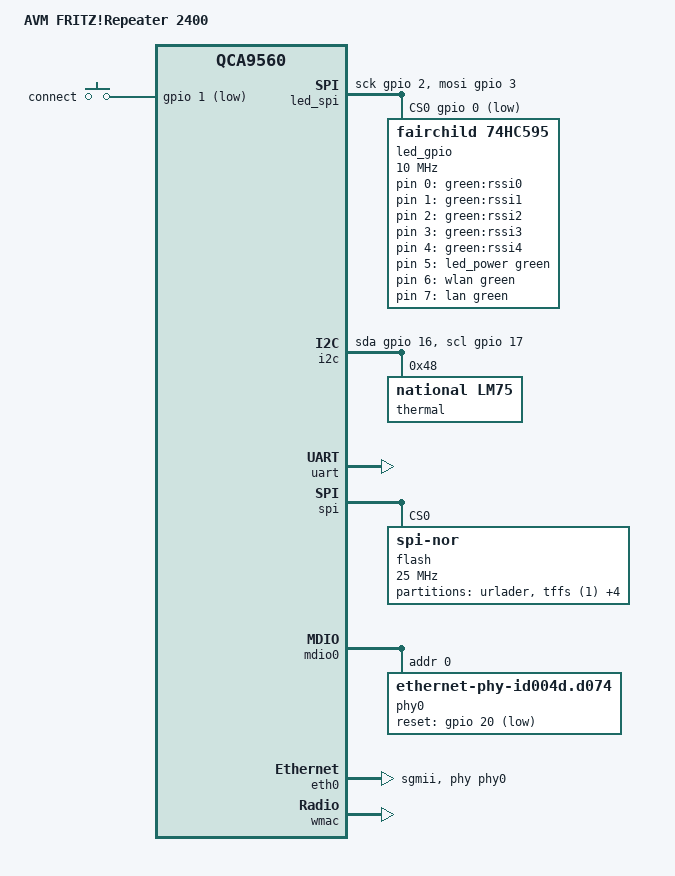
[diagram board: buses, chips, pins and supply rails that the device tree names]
// SPDX-License-Identifier: GPL-2.0-or-later OR MIT

#include "qca956x.dtsi"

#include <dt-bindings/gpio/gpio.h>
#include <dt-bindings/input/input.h>
#include <dt-bindings/leds/common.h>

/ {
	model = "AVM FRITZ!Repeater 2400";
	compatible = "avm,fritz2400", "qca,qcn5500", "qca,qca9560";

	aliases {
		led-boot = &led_power;
		led-failsafe = &led_power;
		led-running = &led_power;
		led-upgrade = &led_power;
		label-mac-device = &eth0;
	};

	keys {
		compatible = "gpio-keys";

		connect {
			label = "connect";
			linux,code = <KEY_WPS_BUTTON>;
			gpios = <&gpio 1 GPIO_ACTIVE_LOW>;
			debounce-interval = <60>;
		};
	};

	/*
	 * 74HC595 shift register driving all front LEDs.
	 * Pinout taken from the OEM device tree (avm-gpio node):
	 *   gpio_avm_shift_clk  = 2  -> SRCLK
	 *   gpio_avm_shift_din  = 3  -> SER
	 *   gpio_avm_shift_rclk = 0  -> RCLK (latch, used as SPI chip select)
	 *   shift_register_size = 8
	 */
	led_spi {
		compatible = "spi-gpio";
		#address-cells = <1>;
		#size-cells = <0>;

		sck-gpios = <&gpio 2 GPIO_ACTIVE_HIGH>;
		mosi-gpios = <&gpio 3 GPIO_ACTIVE_HIGH>;
		cs-gpios = <&gpio 0 GPIO_ACTIVE_LOW>;
		num-chipselects = <1>;

		led_gpio: led_gpio@0 {
			compatible = "fairchild,74hc595";
			reg = <0>;
			gpio-controller;
			#gpio-cells = <2>;
			registers-number = <1>;
			spi-max-frequency = <10000000>;
		};
	};

	/*
	 * Shift register bit map, from the OEM avm-gpio node
	 * (AVM numbers shift register pins as 100 + bit):
	 *   0x64..0x68 = led_fsi0..4 -> RSSI bar
	 *   0x69       = power
	 *   0x6a       = wlan
	 *   0x6b       = lan
	 */
	leds {
		compatible = "gpio-leds";

		rssi0 {
			label = "green:rssi0";
			gpios = <&led_gpio 0 GPIO_ACTIVE_HIGH>;
		};

		rssi1 {
			label = "green:rssi1";
			gpios = <&led_gpio 1 GPIO_ACTIVE_HIGH>;
		};

		rssi2 {
			label = "green:rssi2";
			gpios = <&led_gpio 2 GPIO_ACTIVE_HIGH>;
		};

		rssi3 {
			label = "green:rssi3";
			gpios = <&led_gpio 3 GPIO_ACTIVE_HIGH>;
		};

		rssi4 {
			label = "green:rssi4";
			gpios = <&led_gpio 4 GPIO_ACTIVE_HIGH>;
		};

		led_power: power {
			function = LED_FUNCTION_POWER;
			color = <LED_COLOR_ID_GREEN>;
			gpios = <&led_gpio 5 GPIO_ACTIVE_HIGH>;
			default-state = "on";
		};

		wlan {
			function = LED_FUNCTION_WLAN;
			color = <LED_COLOR_ID_GREEN>;
			gpios = <&led_gpio 6 GPIO_ACTIVE_HIGH>;
			linux,default-trigger = "phy0tpt";
		};

		lan {
			function = LED_FUNCTION_LAN;
			color = <LED_COLOR_ID_GREEN>;
			gpios = <&led_gpio 7 GPIO_ACTIVE_HIGH>;
		};
	};

	/* LM75 temperature sensor, bit-banged I2C (OEM: SDA = 16, SCL = 17) */
	i2c {
		compatible = "i2c-gpio";
		sda-gpios = <&gpio 16 (GPIO_ACTIVE_HIGH | GPIO_OPEN_DRAIN)>;
		scl-gpios = <&gpio 17 (GPIO_ACTIVE_HIGH | GPIO_OPEN_DRAIN)>;
		i2c-gpio,delay-us = <5>;

		#address-cells = <1>;
		#size-cells = <0>;

		thermal@48 {
			compatible = "national,lm75";
			reg = <0x48>;
			#thermal-sensor-cells = <0>;
		};
	};
};

&uart {
	status = "okay";
};

&spi {
	status = "okay";

	flash@0 {
		compatible = "jedec,spi-nor";
		reg = <0>;
		spi-max-frequency = <25000000>;

		/*
		 * 64 MiB SPI-NOR: Winbond W25Q512JV.  JEDEC 0xEF4020 per EVA TFFS
		 * entry 0x01cb "spinor=0xEF4020,cpu=0x2170" (0xEF is Winbond; the
		 * MX25L51245G named here before would be 0xC2...).  cpu=0x2170
		 * matches the live read of 0x18060090 = 0x00002170.
		 *
		 * The boundaries are not from the OEM boot log but from EVA's own
		 * environment variables mtd0..mtd6 (TFFS ids 0x01b0..0x01b6,
		 * identical in both TFFS copies):
		 *
		 *   0x00000000-0x00020000 urlader         EVA mtd2  bootloader
		 *   0x00020000-0x00090000 tffs (1)        EVA mtd3  config + MACs
		 *   0x00090000-0x02000000 reserved-kernel EVA mtd1  FRITZ!OS slot
		 *   0x02000000-0x02020000 caldata         EVA mtd6  128 KiB, ERASED
		 *   0x02020000-0x02090000 tffs (2)        EVA mtd4  config backup
		 *   0x02090000-0x04000000 firmware        EVA mtd5  FRITZ!OS slot
		 *
		 * Which of the two 32 MiB slots EVA boots is NOT derivable here:
		 * both carry the same valid EVA image (magic 0xfeed1281, size
		 * 0x24cf37), and EVA's slot selector linux_fs_start (TFFS name
		 * table id 0x0198) has no entry in either TFFS copy.
		 *
		 * "caldata" is fully erased on this unit (131072 of 131072 bytes
		 * are 0xFF) - the calibration data lives zlib-compressed in
		 * "urlader" instead, entry 0x0207 for the 2.4 GHz WMAC and 0x0208
		 * for the QCA9984.  Do not add a caldata fallback here.
		 *
		 * OpenWrt only ever touches the last region.  The whole second
		 * FRITZ!OS slot and both TFFS copies stay intact, so EVA can
		 * always restore the stock firmware.
		 */
		partitions {
			compatible = "fixed-partitions";
			#address-cells = <1>;
			#size-cells = <1>;

			partition@0 {
				label = "urlader";
				reg = <0x000000 0x020000>;
				read-only;
			};

			partition@20000 {
				label = "tffs (1)";
				reg = <0x020000 0x070000>;
				read-only;
			};

			partition@90000 {
				label = "reserved-kernel";
				reg = <0x090000 0x1f70000>;
				read-only;
			};

			partition@2000000 {
				label = "caldata";
				reg = <0x2000000 0x020000>;
				read-only;
			};

			partition@2020000 {
				label = "tffs (2)";
				reg = <0x2020000 0x070000>;
				read-only;
			};

			partition@2090000 {
				compatible = "avm,eva-firmware";
				label = "firmware";
				reg = <0x2090000 0x1f70000>;
			};
		};
	};
};

/*
 * Gigabit Ethernet: externer Atheros AR8033 an SGMII.
 *
 * Diese Werte sind NICHT geraten - es ist die Konfiguration, mit der
 * neorob85 auf genau diesem Geraet OpenWrt gebootet und LuCI erreicht hat
 * (OpenWrt-Forum Thread 248477, Post 1).
 *
 * Bewusst NICHT dabei: "qca956x-serdes-fixup" und der "gmac-config"-Knoten.
 * Der SGMII-Mux wird von ag71xx_probe() ohnehin unbedingt gesetzt
 * (ag71xx_mux_select_sgmii_qca956x() bei compatible qca,qca9560-eth mit
 * phy-mode sgmii). Der Fixup ueberschreibt darueber hinaus die
 * SerDes-Widerstandskalibrierung mit einem blinden Default, reprogrammiert
 * die SGMII-PLL und loest RESET_SGMII neu - er kann also die Strecke
 * zerstoeren, die EVA funktionsfaehig hinterlassen hat. Keines der drei
 * upstream gemergten QCN5502-Boards setzt ihn.
 *
 * Der PHY hat feste Adresse UND feste PHY-ID: damit braucht der Kernel
 * keinen MDIO-Autoscan und muss die Kennung nicht vom Bus lesen, bevor
 * die reset-gpios greifen.
 */
&mdio0 {
	status = "okay";

	phy0: ethernet-phy@0 {
		compatible = "ethernet-phy-id004d.d074";	/* AR8033 */
		reg = <0>;
		reset-gpios = <&gpio 20 GPIO_ACTIVE_LOW>;
		reset-assert-us = <20000>;
		reset-deassert-us = <20000>;
		qca,clk-out-frequency = <125000000>;
		qca,smarteee-tw-us-1g = <24>;
	};
};

&eth0 {
	status = "okay";

	phy-handle = <&phy0>;
	phy-mode = "sgmii";

	pll-data = <0x03000000 0x00000101 0x00001919>;
};

/*
 * 2,4 GHz: QCN5502-WMAC, direkt im SoC - kein PCIe beteiligt.
 *
 * compatible: "qca,qcn5502-wifi" ist der of_match-Eintrag aus
 * package/kernel/mac80211/patches/ath9k/005-wifi-ath9k-add-QCN550x-device-IDs.patch
 * (ahb.c). Er zeigt auf AR9300_DEVID_QCN550X = 0x0040, und
 * ath9k_hw_read_revisions() macht daraus direkt
 * macVersion = AR_SREV_VERSION_5502 (0x700), ohne ein Register zu lesen.
 *
 * Der Compatible ist NICHT kosmetisch - er bestimmt die gelesene
 * EEPROM-Groesse. Ohne ihn erbt der Knoten "qca,qca9560-wifi" aus
 * qca956x.dtsi, AR_SREV_5502() bleibt false, und
 * ath9k_hw_ar9300_fill_eeprom() nutzt
 * mdata_size = sizeof(struct ar9300_eeprom) = 0x440 statt
 * sizeof(struct qcn5502_eeprom) = 0x540. Das bricht NICHT ab - der Blob
 * ist gross genug - sondern interpretiert alles ab baseEepHeader falsch:
 * stiller Fehlbetrieb ohne eine einzige Fehlermeldung.
 *
 * qca,no-eeprom laesst ath9k_of_init() die Firmwaredatei
 * ath9k-eeprom-ahb-18100000.wmac.bin anfordern ("ahb" aus
 * ath_bus_type_strings[ATH_AHB], "18100000.wmac" aus
 * reg = <0x18100000 0x10000> in qca956x.dtsi) und loescht AH_USE_EEPROM,
 * sodass ar9300_eeprom_restore_flash() den Blob ab Offset 0 uebernimmt.
 * Erzeugt wird die Datei von hotplug.d/firmware/10-ath9k-eeprom aus
 * urlader-Cal-Entry 0x0207.
 *
 * Eine nvmem-Zelle ist nicht moeglich, ohne vorher einen rohen
 * 0x540-Block ins Werksflash zu schreiben: im Flash liegt der Blob nur
 * zlib-komprimiert UND byteverkehrt, nirgends roh - 0 Treffer fuer die
 * MAC-Bytes und fuer "02 10 60 b5 8d" im gesamten 64-MiB-Dump.
 *
 * Bewusst NICHT dabei:
 *  - nvmem-cells / mac-address: der extrahierte Blob traegt macwlan
 *    60:b5:8d:b1:87:1e schon bei Offset 0x02.
 *  - ein "led"-Kindknoten: die Front-WLAN-LED haengt am 74HC595
 *    (gpio-leds mit phy0tpt). ath_fill_led_pin() faellt auf
 *    ATH_LED_PIN_DEF = 1 zurueck, das wird mit
 *    341-wifi-ath9k-obtain-system-gpios.patch ueber
 *    gpiod_get_index(dev, "ath9k", 1) aufgeloest und scheitert hier mit
 *    -ENOENT, weil der Knoten keine ath9k-gpios-Property hat. SoC-GPIO 1
 *    (connect-Taster) wird also nicht angefasst - im dmesg pruefen.
 *
 * Merke: der 5-GHz-Teil des Blobs ist nicht genullt, sondern mit
 * Template-Geruest gefuellt (nur calPierData5G@0x24b ist ganz 0). "die
 * 5G-Sektion ist leer" ist also KEIN brauchbarer Sanity-Check;
 * 2,4-GHz-only folgt allein aus opFlags = 0x02.
 */
&wmac {
	compatible = "qca,qcn5502-wifi";
	status = "okay";

	qca,no-eeprom;
};
